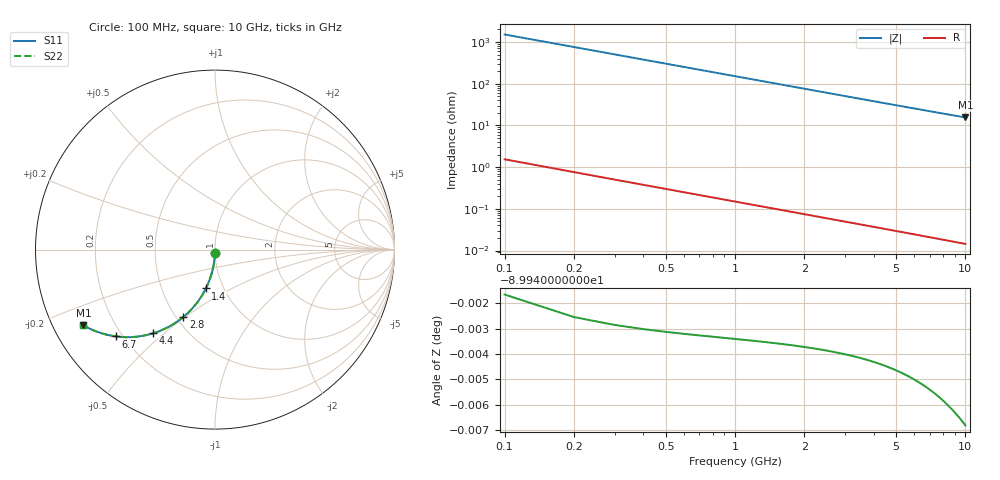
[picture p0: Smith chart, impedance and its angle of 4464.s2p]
# Hz S RI R 50.00
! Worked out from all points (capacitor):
!   100 points, 100 MHz to 10 GHz, reference 50 ohm
!   read as one part in shunt: C = 1.05 pF near 100 MHz
!   lowest |Z| = 15.6 ohm at 10 GHz (marker M1)
!   S11 on the Smith chart (normalised r, x): 100 MHz: 1.00, -0.03; 1.4 GHz: 0.83, -0.38; 2.8 GHz: 0.54, -0.49; 4.4 GHz: 0.33, -0.46; 6.7 GHz: 0.18, -0.37; 10 GHz: 0.09, -0.26
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1e8  -0.000256 -0.0163  0.9997 -0.0167  0.9997 -0.0167  -0.000256 -0.0163
2e8  -0.00109 -0.0326  0.9988 -0.0333  0.9988 -0.0333  -0.00109 -0.0326
3e8  -0.00246 -0.0488  0.9975 -0.0499  0.9975 -0.0499  -0.00246 -0.0488
4e8  -0.00436 -0.0649  0.9956 -0.0664  0.9956 -0.0664  -0.00436 -0.0649
5e8  -0.0068 -0.0809  0.9931 -0.0828  0.9931 -0.0828  -0.0068 -0.0809
6e8  -0.00975 -0.0968  0.9902 -0.0991  0.9902 -0.0991  -0.00975 -0.0968
7e8  -0.0132 -0.1125  0.9867 -0.1152  0.9867 -0.1152  -0.0132 -0.1125
9e8  -0.0216 -0.1434  0.9783 -0.1469  0.9783 -0.1469  -0.0216 -0.1434
1.1e9  -0.032 -0.1734  0.9679 -0.1776  0.9679 -0.1776  -0.032 -0.1734
1.4e9  -0.0507 -0.2164  0.9492 -0.2217  0.9492 -0.2217  -0.0507 -0.2164
1.8e9  -0.0812 -0.2692  0.9188 -0.2761  0.9188 -0.2761  -0.0812 -0.2692
2.3e9  -0.126 -0.327  0.8739 -0.3358  0.8739 -0.3358  -0.126 -0.327
2.8e9  -0.176 -0.375  0.8239 -0.3857  0.8239 -0.3857  -0.176 -0.375
3.4e9  -0.2395 -0.4198  0.7604 -0.4329  0.7604 -0.4329  -0.2395 -0.4198
3.9e9  -0.293 -0.4471  0.7068 -0.4622  0.7068 -0.4622  -0.293 -0.4471
4.4e9  -0.3454 -0.4665  0.6544 -0.4835  0.6544 -0.4835  -0.3454 -0.4665
5.1e9  -0.4149 -0.4823  0.5848 -0.5021  0.5848 -0.5021  -0.4149 -0.4823
5.8e9  -0.4786 -0.4877  0.5211 -0.5104  0.5211 -0.5104  -0.4786 -0.4877
6.7e9  -0.5508 -0.4837  0.4488 -0.51  0.4488 -0.51  -0.5508 -0.4837
7.5e9  -0.606 -0.4733  0.3935 -0.5029  0.3935 -0.5029  -0.606 -0.4733
8.4e9  -0.659 -0.4568  0.3403 -0.4901  0.3403 -0.4901  -0.659 -0.4568
1e10  -0.7332 -0.4215  0.2659 -0.4615  0.2659 -0.4615  -0.7332 -0.4215
